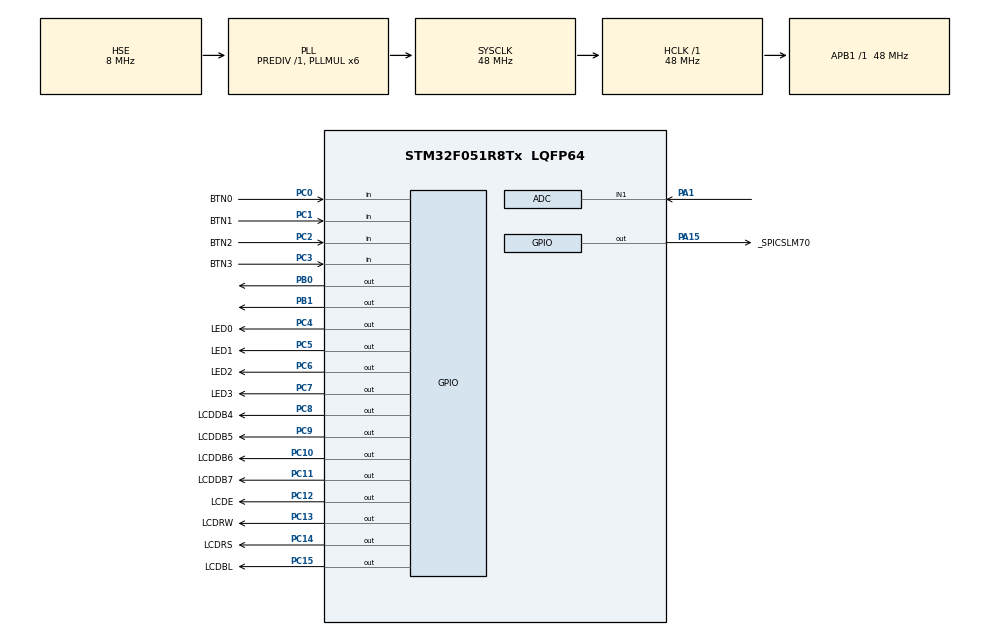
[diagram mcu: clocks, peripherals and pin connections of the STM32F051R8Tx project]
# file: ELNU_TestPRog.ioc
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Mcu.Family=STM32F0
Mcu.Name=STM32F051R8Tx
Mcu.Package=LQFP64
NVIC.TIM14_IRQn=true\:0\:0\:false\:false\:true\:true\:true
NVIC.TIM6_DAC_IRQn=true\:0\:0\:false\:false\:true\:true\:true
PA1.Mode=IN1
PA1.Signal=ADC_IN1
PA13.Mode=Serial_Wire
PA13.Signal=SYS_SWDIO
PA14.Mode=Serial_Wire
PA14.Signal=SYS_SWCLK
PA15.GPIO_Label=_SPICSLM70
PA15.PinState=GPIO_PIN_SET
PA15.Signal=GPIO_Output
PA5.GPIO_Label=SPISCK
PA5.Signal=SPI1_SCK
PA6.GPIO_Label=SPIMISO
PA6.Signal=SPI1_MISO
PB0.Signal=GPIO_Output
PB1.Signal=GPIO_Output
PC0.GPIO_Label=BTN0
PC0.Signal=GPIO_Input
PC1.GPIO_Label=BTN1
PC1.Signal=GPIO_Input
PC10.GPIO_Label=LCDDB6
PC10.Signal=GPIO_Output
PC11.GPIO_Label=LCDDB7
PC11.Signal=GPIO_Output
PC12.GPIO_Label=LCDE
PC12.Signal=GPIO_Output
PC13.GPIO_Label=LCDRW
PC13.Signal=GPIO_Output
PC14-OSC32_IN.GPIO_Label=LCDRS
PC14-OSC32_IN.Signal=GPIO_Output
PC15-OSC32_OUT.GPIO_Label=LCDBL
PC15-OSC32_OUT.Signal=GPIO_Output
PC2.GPIO_Label=BTN2
PC2.Signal=GPIO_Input
PC3.GPIO_Label=BTN3
PC3.Signal=GPIO_Input
PC4.GPIO_Label=LED0
PC4.PinState=GPIO_PIN_SET
PC4.Signal=GPIO_Output
PC5.GPIO_Label=LED1
PC5.PinState=GPIO_PIN_SET
PC5.Signal=GPIO_Output
PC6.GPIO_Label=LED2
PC6.PinState=GPIO_PIN_SET
PC6.Signal=GPIO_Output
PC7.GPIO_Label=LED3
PC7.PinState=GPIO_PIN_SET
PC7.Signal=GPIO_Output
PC8.GPIO_Label=LCDDB4
PC8.Signal=GPIO_Output
PC9.GPIO_Label=LCDDB5
PC9.Signal=GPIO_Output
PF0-OSC_IN.GPIO_Label=OSCIN
PF0-OSC_IN.Mode=HSE-External-Oscillator
PF0-OSC_IN.Signal=RCC_OSC_IN
PF1-OSC_OUT.GPIO_Label=OSCOUT
PF1-OSC_OUT.Mode=HSE-External-Oscillator
PF1-OSC_OUT.Signal=RCC_OSC_OUT
PF6.Signal=I2C2_SCL
PF7.Signal=I2C2_SDA
ProjectManager.HeapSize=0x200
ProjectManager.StackSize=0x400
ProjectManager.TargetToolchain=MDK-ARM V5
RCC.AHBFreq_Value=48000000
RCC.APB1Freq_Value=48000000
RCC.APB1TimFreq_Value=48000000
RCC.EnbaleCSS=true
RCC.HCLKFreq_Value=48000000
RCC.PLLMUL=RCC_PLL_MUL6
RCC.PLLSourceVirtual=RCC_PLLSOURCE_HSE
RCC.SYSCLKFreq_VALUE=48000000
RCC.SYSCLKSource=RCC_SYSCLKSOURCE_PLLCLK
TIM14.Period=999
TIM14.Prescaler=47
TIM6.Period=199
TIM6.Prescaler=47999
VP_TIM14_VS_ClockSourceINT.Mode=Enable_Timer
VP_TIM6_VS_ClockSourceINT.Mode=Enable_Timer
board=test01_blink

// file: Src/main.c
/* USER CODE BEGIN Header */
/**
  ******************************************************************************
  * @file           : main.c
  * @brief          : Main program body
  ******************************************************************************
  * @attention
  *
  * <h2><center>&copy; Copyright (c) 2021 STMicroelectronics.
  * All rights reserved.</center></h2>
  *
  * This software component is licensed by ST under BSD 3-Clause license,
  * the "License"; You may not use this file except in compliance with the
  * License. You may obtain a copy of the License at:
  *                        opensource.org/licenses/BSD-3-Clause
  *
  ******************************************************************************
  */
/* USER CODE END Header */
#include "main.h"
#include "adc.h"
#include "tim.h"
#include "gpio.h"

/* USER CODE BEGIN Includes */
#include <stdint.h>

#include "fonctionsTestELNU.h"
#include "stm32DriverLcd.h"
#include "stm32f0xx_it.h"
/* USER CODE END Includes */

void SystemClock_Config(void);

int main(void)
{
  /* USER CODE BEGIN 1 */
	//-- déclaration de variable --//
	enum state {STATE_INIT,STATE_EXEC,STATE_WAIT};
	enum state machine_state = STATE_INIT;

  /* USER CODE END 1 */

  /* MCU Configuration--------------------------------------------------------*/

  /* Reset of all peripherals, Initializes the Flash interface and the Systick. */
  HAL_Init();

  /* Configure the system clock */
  SystemClock_Config();

  /* Initialize all configured peripherals */
  MX_GPIO_Init();
  MX_TIM6_Init();
  MX_TIM14_Init();
  MX_ADC_Init();
  /* USER CODE BEGIN 2 */
	//-- initialisation LCD avec message utilisateur --//
	lcd_init();
	lcd_bl_on();
  lcd_gotoxy(1,1);
	printf_lcd("TEST ELNU 23");
	lcd_gotoxy(1,2);
	printf_lcd("SOLUS XXX");

	//-- activation du timer 6 avec interruption --//
	HAL_TIM_Base_Start(&htim6);

	//-- calibration pour l'ADC --//
	HAL_ADCEx_Calibration_Start(&hadc);

  /* USER CODE END 2 */

  /* Infinite loop */
  /* USER CODE BEGIN WHILE */
  while (1)
  {
		//-- Machine d'état --//
			switch(machine_state)
		{

			//-- Initialisation --//
			case STATE_INIT:

				//-- appel fonction chenillard --//
				//-- allumer les leds pendant 5s --//

				//-- eteindre les leds --//

				//-- lancement du timer14 avec interruption --//

				//-- mise à jour de la machine d'état --//
				break;

			//-- Execution --//
			case STATE_WAIT:

				//-- lecture de l'ADC => canal 1 --//

				//-- controle des seuils --//

				//-- test si touches sont activée actif à 1 (actif toutes les 100ms)--//

				//-- action selon l'état des touches --//

					//-- appel de la fonction CreationDentScieGauche --//

					//-- appel de la fonction CreationDentSciedroite --//

					//-- appel de la fonction CreationTriangle --//

					//-- mise à du tableau à zéro --//
					break;

			//-- Attente --//
			case ATTENTE:
				break;

					//-- ne fait rien

		}
    /* USER CODE END WHILE */

}

void SystemClock_Config(void)
{
  RCC_OscInitTypeDef RCC_OscInitStruct = {0};
  RCC_ClkInitTypeDef RCC_ClkInitStruct = {0};

  /** Initializes the RCC Oscillators according to the specified parameters
  * in the RCC_OscInitTypeDef structure.
  */
  RCC_OscInitStruct.OscillatorType = RCC_OSCILLATORTYPE_HSI14|RCC_OSCILLATORTYPE_HSE;
  RCC_OscInitStruct.HSEState = RCC_HSE_ON;
  RCC_OscInitStruct.HSI14State = RCC_HSI14_ON;
  RCC_OscInitStruct.HSI14CalibrationValue = 16;
  RCC_OscInitStruct.PLL.PLLState = RCC_PLL_ON;
  RCC_OscInitStruct.PLL.PLLSource = RCC_PLLSOURCE_HSE;
  RCC_OscInitStruct.PLL.PLLMUL = RCC_PLL_MUL6;
  RCC_OscInitStruct.PLL.PREDIV = RCC_PREDIV_DIV1;
  if (HAL_RCC_OscConfig(&RCC_OscInitStruct) != HAL_OK)
  {
    Error_Handler();
  }
  /** Initializes the CPU, AHB and APB buses clocks
  */
  RCC_ClkInitStruct.ClockType = RCC_CLOCKTYPE_HCLK|RCC_CLOCKTYPE_SYSCLK
                              |RCC_CLOCKTYPE_PCLK1;
  RCC_ClkInitStruct.SYSCLKSource = RCC_SYSCLKSOURCE_PLLCLK;
  RCC_ClkInitStruct.AHBCLKDivider = RCC_SYSCLK_DIV1;
  RCC_ClkInitStruct.APB1CLKDivider = RCC_HCLK_DIV1;

  if (HAL_RCC_ClockConfig(&RCC_ClkInitStruct, FLASH_LATENCY_1) != HAL_OK)
  {
    Error_Handler();
  }
  /** Enables the Clock Security System
  */
  HAL_RCC_EnableCSS();
}

void Error_Handler(void)
{
  __disable_irq();
  while (1)
  {
  }
}

/************************ (C) COPYRIGHT STMicroelectronics *****END OF FILE****/
